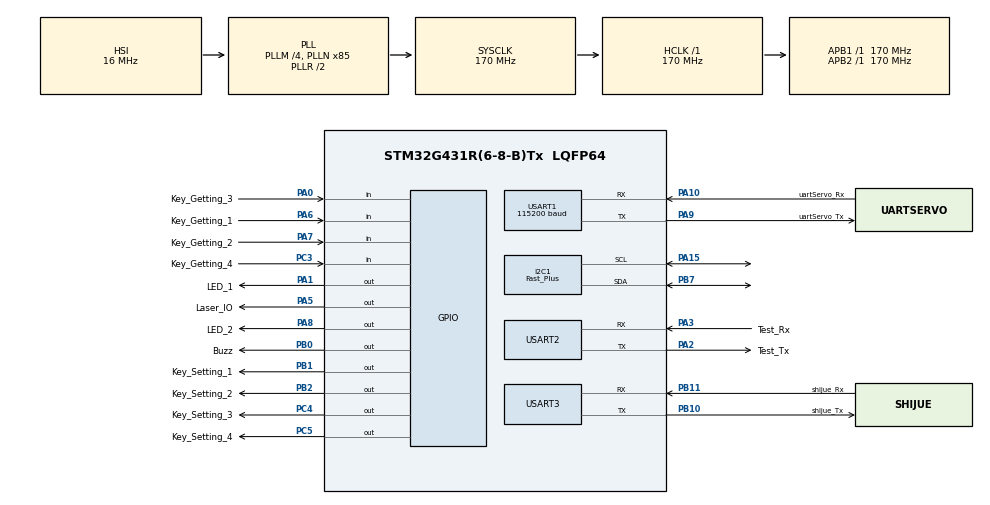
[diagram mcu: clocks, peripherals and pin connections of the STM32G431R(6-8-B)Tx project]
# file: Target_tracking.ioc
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Dma.Request0=USART3_RX
Dma.USART3_RX.0.Direction=DMA_PERIPH_TO_MEMORY
Dma.USART3_RX.0.EventEnable=DISABLE
Dma.USART3_RX.0.Instance=DMA1_Channel1
Dma.USART3_RX.0.MemDataAlignment=DMA_MDATAALIGN_BYTE
Dma.USART3_RX.0.MemInc=DMA_MINC_ENABLE
Dma.USART3_RX.0.Mode=DMA_NORMAL
Dma.USART3_RX.0.PeriphDataAlignment=DMA_PDATAALIGN_BYTE
Dma.USART3_RX.0.PeriphInc=DMA_PINC_DISABLE
Dma.USART3_RX.0.Polarity=HAL_DMAMUX_REQ_GEN_RISING
Dma.USART3_RX.0.Priority=DMA_PRIORITY_LOW
Dma.USART3_RX.0.RequestNumber=1
Dma.USART3_RX.0.SignalID=NONE
Dma.USART3_RX.0.SyncEnable=DISABLE
Dma.USART3_RX.0.SyncPolarity=HAL_DMAMUX_SYNC_NO_EVENT
Dma.USART3_RX.0.SyncRequestNumber=1
Dma.USART3_RX.0.SyncSignalID=NONE
I2C1.I2C_Speed_Mode=I2C_Fast_Plus
I2C1.Timing=0x4052060F
Mcu.Family=STM32G4
Mcu.Name=STM32G431R(6-8-B)Tx
Mcu.Package=LQFP64
NVIC.DMA1_Channel1_IRQn=true\:0\:0\:false\:false\:true\:false\:true\:true
NVIC.PriorityGroup=NVIC_PRIORITYGROUP_4
NVIC.TIM6_DAC_IRQn=true\:1\:0\:true\:false\:true\:true\:true\:true
NVIC.TIM7_IRQn=true\:1\:0\:true\:false\:true\:true\:true\:true
NVIC.USART1_IRQn=true\:1\:0\:true\:false\:true\:true\:true\:true
NVIC.USART2_IRQn=true\:1\:0\:true\:false\:true\:true\:true\:true
NVIC.USART3_IRQn=true\:0\:0\:false\:false\:true\:true\:true\:true
PA0.GPIO_Label=Key_Getting_3
PA0.GPIO_PuPd=GPIO_PULLUP
PA0.Signal=GPIO_Input
PA1.GPIO_Label=LED_1
PA1.Signal=GPIO_Output
PA10.GPIO_Label=uartServo_Rx
PA10.Mode=Asynchronous
PA10.Signal=USART1_RX
PA13.Mode=Serial_Wire
PA13.Signal=SYS_JTMS-SWDIO
PA14.Mode=Serial_Wire
PA14.Signal=SYS_JTCK-SWCLK
PA15.GPIO_Speed=GPIO_SPEED_FREQ_VERY_HIGH
PA15.Mode=I2C
PA15.Signal=I2C1_SCL
PA2.GPIO_Label=Test_Tx
PA2.Mode=Asynchronous
PA2.Signal=USART2_TX
PA3.GPIO_Label=Test_Rx
PA3.Mode=Asynchronous
PA3.Signal=USART2_RX
PA5.GPIO_Label=Laser_IO
PA5.Signal=GPIO_Output
PA6.GPIO_Label=Key_Getting_1
PA6.GPIO_PuPd=GPIO_PULLUP
PA6.Signal=GPIO_Input
PA7.GPIO_Label=Key_Getting_2
PA7.GPIO_PuPd=GPIO_PULLUP
PA7.Signal=GPIO_Input
PA8.GPIO_Label=LED_2
PA8.Signal=GPIO_Output
PA9.GPIO_Label=uartServo_Tx
PA9.Mode=Asynchronous
PA9.Signal=USART1_TX
PB0.GPIO_Label=Buzz
PB0.Signal=GPIO_Output
PB1.GPIO_Label=Key_Setting_1
PB1.Signal=GPIO_Output
PB10.GPIO_Label=shijue_Tx
PB10.Mode=Asynchronous
PB10.Signal=USART3_TX
PB11.GPIO_Label=shijue_Rx
PB11.Mode=Asynchronous
PB11.Signal=USART3_RX
PB2.GPIO_Label=Key_Setting_2
PB2.Signal=GPIO_Output
PB7.GPIO_Speed=GPIO_SPEED_FREQ_VERY_HIGH
PB7.Mode=I2C
PB7.Signal=I2C1_SDA
PC3.GPIO_Label=Key_Getting_4
PC3.GPIO_PuPd=GPIO_PULLUP
PC3.Signal=GPIO_Input
PC4.GPIO_Label=Key_Setting_3
PC4.Signal=GPIO_Output
PC5.GPIO_Label=Key_Setting_4
PC5.Signal=GPIO_Output
PF0-OSC_IN.Mode=HSE-External-Oscillator
PF0-OSC_IN.Signal=RCC_OSC_IN
PF1-OSC_OUT.Mode=HSE-External-Oscillator
PF1-OSC_OUT.Signal=RCC_OSC_OUT
ProjectManager.HeapSize=0x200
ProjectManager.StackSize=0x400
ProjectManager.TargetToolchain=Makefile
RCC.ADC12Freq_Value=170000000
RCC.AHBFreq_Value=170000000
RCC.APB1Freq_Value=170000000
RCC.APB1TimFreq_Value=170000000
RCC.APB2Freq_Value=170000000
RCC.APB2TimFreq_Value=170000000
RCC.CortexFreq_Value=170000000
RCC.EXTERNAL_CLOCK_VALUE=12288000
RCC.HCLKFreq_Value=170000000
RCC.HSE_VALUE=8000000
RCC.HSI48_VALUE=48000000
RCC.HSI_VALUE=16000000
RCC.LSE_VALUE=32768
RCC.PLLM=RCC_PLLM_DIV4
RCC.PLLN=85
RCC.SYSCLKFreq_VALUE=170000000
RCC.SYSCLKSource=RCC_SYSCLKSOURCE_PLLCLK
RCC.USBFreq_Value=170000000
RCC.VCOOutputFreq_Value=340000000
TIM6.PeriodNoDither=1000-1
TIM6.Prescaler=170-1
TIM7.PeriodNoDither=1000-1
TIM7.Prescaler=170-1
USART1.BaudRate=115200
USART1.VirtualMode-Asynchronous=VM_ASYNC
USART2.VirtualMode-Asynchronous=VM_ASYNC
USART3.VirtualMode-Asynchronous=VM_ASYNC
VP_SYS_VS_DBSignals.Mode=DisableDeadBatterySignals
VP_TIM6_VS_ClockSourceINT.Mode=Enable_Timer
VP_TIM7_VS_ClockSourceINT.Mode=Enable_Timer
board=custom

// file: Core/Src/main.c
/* USER CODE BEGIN Header */
/**
  ******************************************************************************
  * @file           : main.c
  * @brief          : Main program body
  ******************************************************************************
  * @attention
  *
  * Copyright (c) 2025 STMicroelectronics.
  * All rights reserved.
  *
  * This software is licensed under terms that can be found in the LICENSE file
  * in the root directory of this software component.
  * If no LICENSE file comes with this software, it is provided AS-IS.
  *
  ******************************************************************************
  */
/* USER CODE END Header */
#include "main.h"
#include "dma.h"
#include "i2c.h"
#include "tim.h"
#include "usart.h"
#include "gpio.h"

/* USER CODE BEGIN Includes */

#include "oled.h"

#include "My_KeyBoard.h"

#include "uart_servo_lite.h"
#include "Tick.h"

#include "Master_PC.h"
#include "Servo_Move.h"

/* 运动云台

			下舵机初始位置角度：2048  编号：1		(左+,右-)
			上舵机初始位置角度：2048  编号：2	  (上+,下-)

*/

/* USER CODE END Includes */

/* USER CODE BEGIN PTD */

uint8_t RxData=1,shijue_RxData;
uint8_t Key_GetCnt,Key_GetCntFlag,Key_Start;					/* 按键消抖时间计次  按键消抖计时标志位  按键启动位 */

uint8_t sid_1=1,sid_2=2;

uint8_t pRxPacket;			/* 摄像头数据接收缓冲数组 */

uint8_t KeyNum;

uint8_t Monitor_Flag,MovingReset_flag;				/* 在任意位置均可复位部分 */
uint16_t My_CoordinateData[10];						/* 传过来的计算坐标值 */
uint8_t ShijueRecv_Buffer[20];						/* 传过来的原始数据 */

uint8_t Rectangle_Send=0x66,FinishRectangle_Flag;
/* 接收到四点矩形框数据后向摄像头发送的数据  四点矩形框数据接收完成标志位*/

float My_Angle;
uint8_t Data_FinishGet,Data_StartGet=0;			/* 接收完成标志位  启动接收标志位 */

//状态码
JOHO_STATUS statusCode;

uint16_t Test;

/* USER CODE END PTD */

void SystemClock_Config(void);

int main(void)
{

  /* MCU Configuration--------------------------------------------------------*/

  /* Reset of all peripherals, Initializes the Flash interface and the Systick. */
  HAL_Init();

  /* Configure the system clock */
  SystemClock_Config();

  /* Initialize all configured peripherals */
  MX_GPIO_Init();
  MX_DMA_Init();
  MX_I2C1_Init();
  MX_USART1_UART_Init();
  MX_USART2_UART_Init();
  MX_USART3_UART_Init();
  MX_TIM6_Init();
  MX_TIM7_Init();
  /* USER CODE BEGIN 2 */

	OLED_Init();
	OLED_Clear();
	Key_Init();

	/* 串行舵机初始化部分 */
//	HAL_TIM_Base_Start_IT(&htim6);
  	HAL_UART_Receive_IT(&huart1,&RxData, sizeof(RxData));
	Tick_DelayMs(1000);

//	HAL_GPIO_WritePin(GPIOA,GPIO_PIN_8,GPIO_PIN_SET);			/* 点亮LED灯 */
//	HAL_GPIO_WritePin(GPIOB,GPIO_PIN_0,GPIO_PIN_RESET);		/* 蜂鸣器使能 */
	HAL_GPIO_WritePin(GPIOA,GPIO_PIN_5,GPIO_PIN_SET);		/* 激光使能 */

	HAL_UART_Receive_IT(&huart2,(uint8_t*)&Rx_Byte,sizeof(Rx_Byte));		/* 调试串口 */
	HAL_UART_Receive_DMA(&huart3,(uint8_t*)&shijue_RxData,1);

	// USL_SetServoAngle(servoUsart,sid_1,1848,0);
	// USL_SetServoAngle(servoUsart,sid_2,1848,0);

//	Test = USL_GETPositionVal(servoUsart,sid_1);
//	HAL_Delay(100);
//	USL_SetServoAngle(servoUsart,sid_1,2080,0);

  /* USER CODE END 2 */

  /* Infinite loop */
  /* USER CODE BEGIN WHILE */
  while (1)
  {
			menu2 = menu1();		/* 从一级菜单中获取 */
			if(menu2 == 1)
			{
					LOCATE_MODE_Menu();
			}
			else if(menu2 == 2)
			{
					LASER_RESET_Menu();
			}
			else if(menu2 == 3)
			{
					while(1)
					{
							menu3 = LASER_MOVE_Menu();
							if(MenuReturn_Flag)		/* 返回上一级菜单 */
							{
								MenuReturn_Flag=0;
								break;
							}

							if(menu3 == 1)		/* 铅笔框运动 */
							{
										Monitor_Flag=1;				/* 运动过程中复位功能使能 */

										Penstring_Moving_1();

										Monitor_Flag=0;				/* 运动过程中复位功能失能 */

							}
							else if(menu3 == 2)		/* 矩形框运动 */
							{
									menu4 = RECTANGLE_MOVE_Menu();

									if(menu4 == 1)		/* 校准模式 */
									{
											GET_RECTANGLE_menu();
									}
									else if(menu4 == 2)			/* 启动矩形框运动模式 */
									{
											Set_RectangleXY(rectangle_XY,Set_rectangle_XY);			/* 获取细分坐标 */
											Data_StartGet=1;		/* 实时接收激光坐标 */

//											HAL_TIM_Base_Start_IT(&htim7);
//											Tracking_Start_Flag=1;

//											for(uint8_t Rec_time=0;Rec_time<16;Rec_time++)
//											{
//													while(1)
//													{
////															Set_LaserTracking(Set_rectangle_XY[Rec_time*2],Set_rectangle_XY[Rec_time*2+1]);			/* 启动矩形框巡线 */
////
////															if( 	((Set_rectangle_XY[Rec_time*2]<Laser_XY[0]+1)&&(Set_rectangle_XY[Rec_time*2+1]<Laser_XY[1]+1))||
////																		((Set_rectangle_XY[Rec_time*2]+1>Laser_XY[0])&&(Set_rectangle_XY[Rec_time*2+1]+1>Laser_XY[1]))||
////																		((Set_rectangle_XY[Rec_time*2]<Laser_XY[0]+1)&&(Set_rectangle_XY[Rec_time*2+1]+1>Laser_XY[1]))||
////																		((Set_rectangle_XY[Rec_time*2]+1>Laser_XY[0])&&(Set_rectangle_XY[Rec_time*2+1]<Laser_XY[1]+1)) )
////															{
////																		break;
////															}
//
//																Set_LaserTracking(Set_rectangle_XY[Rec_time*2],Set_rectangle_XY[Rec_time*2+1]);
//																if(Tracking_Enable)
//																{
//																		Tracking_Enable=0;
//																		break;
//																}
//													}
//											}
//
//											HAL_TIM_Base_Stop_IT(&htim7);
//											Tracking_Start_Flag=0;
//											Tracking_CNT=0;

												while(1)
												{
												Set_LaserTracking(Set_rectangle_XY[0],Set_rectangle_XY[1]);
												}

									}

							}
							// else if(menu3 == 0)		/* 回到前级菜单 */
							// {
							// 		OLED_Clear();
							// 		break;
							// }
					}
			}

			/* 调参部分 */

			/****************************************************************************************/

				/* 调参数据接收部分 */
//				if(Get_vofa_PID_Rxflag()==1)		/* 判断接收是否成功 */
//				{
//						PID_index_1=Get_id_Flag_1();
//						PID_index_2=Get_id_Flag_2();
//
//						PID_Mode[PID_index_1-1].PID[PID_index_2]=RxPacket_Data_Handle(Get_Vofa_RxData);
//				}

				/* 启动停止位接收部分 */
//				if(Get_On_or_off_Rxflag()==1)			/* 判断接受是否成功 */
//				{
//						Car_on_off=Get_On_or_off[0];
//				}

			/****************************************************************************************/

    /* USER CODE END WHILE */

  }
}

void SystemClock_Config(void)
{
  RCC_OscInitTypeDef RCC_OscInitStruct = {0};
  RCC_ClkInitTypeDef RCC_ClkInitStruct = {0};

  /** Configure the main internal regulator output voltage
  */
  HAL_PWREx_ControlVoltageScaling(PWR_REGULATOR_VOLTAGE_SCALE1_BOOST);

  /** Initializes the RCC Oscillators according to the specified parameters
  * in the RCC_OscInitTypeDef structure.
  */
  RCC_OscInitStruct.OscillatorType = RCC_OSCILLATORTYPE_HSI;
  RCC_OscInitStruct.HSIState = RCC_HSI_ON;
  RCC_OscInitStruct.HSICalibrationValue = RCC_HSICALIBRATION_DEFAULT;
  RCC_OscInitStruct.PLL.PLLState = RCC_PLL_ON;
  RCC_OscInitStruct.PLL.PLLSource = RCC_PLLSOURCE_HSI;
  RCC_OscInitStruct.PLL.PLLM = RCC_PLLM_DIV4;
  RCC_OscInitStruct.PLL.PLLN = 85;
  RCC_OscInitStruct.PLL.PLLP = RCC_PLLP_DIV2;
  RCC_OscInitStruct.PLL.PLLQ = RCC_PLLQ_DIV2;
  RCC_OscInitStruct.PLL.PLLR = RCC_PLLR_DIV2;
  if (HAL_RCC_OscConfig(&RCC_OscInitStruct) != HAL_OK)
  {
    Error_Handler();
  }

  /** Initializes the CPU, AHB and APB buses clocks
  */
  RCC_ClkInitStruct.ClockType = RCC_CLOCKTYPE_HCLK|RCC_CLOCKTYPE_SYSCLK
                              |RCC_CLOCKTYPE_PCLK1|RCC_CLOCKTYPE_PCLK2;
  RCC_ClkInitStruct.SYSCLKSource = RCC_SYSCLKSOURCE_PLLCLK;
  RCC_ClkInitStruct.AHBCLKDivider = RCC_SYSCLK_DIV1;
  RCC_ClkInitStruct.APB1CLKDivider = RCC_HCLK_DIV1;
  RCC_ClkInitStruct.APB2CLKDivider = RCC_HCLK_DIV1;

  if (HAL_RCC_ClockConfig(&RCC_ClkInitStruct, FLASH_LATENCY_4) != HAL_OK)
  {
    Error_Handler();
  }
}

/* USER CODE BEGIN 4 */

void HAL_UART_RxCpltCallback(UART_HandleTypeDef *huart){

    if(huart->Instance == USART1){
        HAL_UART_Receive_IT(&huart1,&RxData, sizeof(RxData));
        RingBuffer_Push(usart1.recvBuf, RxData);
    }

		if(huart->Instance == USART2)		/* 调试用接收中断 */
    {
				static uint8_t PID_RxState=0;  		/* PID参数接收标志位 */
				static uint8_t PID_pRxPacket=0;			/* 接收数据位数(数组元素索引) */

				static uint8_t On_or_off_RxState=0;		/* 启动停止位接收标志位 */
				static uint8_t On_or_off_pRxPacket=0;			/* 接收数据位数(数组元素索引) */

//				static uint8_t FlashSave_RxState=0;

				HAL_UART_Receive_IT(&huart2,(uint8_t*)&Rx_Byte,sizeof(Rx_Byte));    /* 接受上位机传来的一个字节 */

				/* PID参数接收部分 */
				if(PID_RxState==0 && Rx_Byte==0x23)			/* 接收"#" */
				{
						PID_RxState=1;
				}
				else if(PID_RxState==1 && Rx_Byte==0x50)			/* 接收"P" */
				{
						PID_RxState=2;
				}
				else if(PID_RxState==2)		/* 接收标志1(_前边) */
				{
						id_Flag_1=Rx_Byte-48;
						PID_RxState=3;
				}
				else if(PID_RxState==3 && Rx_Byte==0x5F)			/* 接收"_" */
				{
						PID_RxState=4;
				}
				else if(PID_RxState==4)		/* 接收标志1(_后边) */
				{
						id_Flag_2=Rx_Byte-48;
						PID_RxState=5;
				}
				else if(PID_RxState==5 && Rx_Byte==0x3D)		/* 接收"=" */
				{
						PID_RxState=6;
				}
				else if(PID_RxState==6)			/* 此时开始接收参数数据 */
				{
						if(Rx_Byte==0x21)		/* 接收到"!"即帧尾-->作标志位清零处理 */
						{
								Data_BitNum=PID_pRxPacket;		/* 获取接收到的实际位数 */
								PID_pRxPacket=0;				/* 清除索引方便下次进行接收数据 */
								PID_RxState=0;						/* 标志位清零 */
								PID_RxFlag=1;		/* 获取标志位置1 */
						}
						else			/* 持续接收数据 */
						{
								Get_Vofa_RxData[PID_pRxPacket++]=Rx_Byte;
						}
				}

				/* 启动停止位接收部分 */
				if(On_or_off_RxState==0 && Rx_Byte==0x40)		/* 接收"@" */
				{
						On_or_off_RxState=1;
				}
				else if(On_or_off_RxState==1 && Rx_Byte==0x46)		/* 接收"F" */
				{
						On_or_off_RxState=2;
				}
				else if(On_or_off_RxState==2 && Rx_Byte==0x6C)			/* 接收"l" */
				{
						On_or_off_RxState=3;
				}
				else if(On_or_off_RxState==3 && Rx_Byte==0x61)					/* 接收"a" */
				{
						On_or_off_RxState=4;
				}
				else if(On_or_off_RxState==4 && Rx_Byte==0x67)					/* 接收"g" */
				{
						On_or_off_RxState=5;
				}
				else if(On_or_off_RxState==5 && Rx_Byte==0x3D)			/* 接收"=" */
				{
						On_or_off_RxState=6;
				}
				else if(On_or_off_RxState==6)			/* 开始接受标志位 */
				{
						if(Rx_Byte==0x21)			/* 判断接收到帧尾"!"后,结束本次启动停止位的获取 */
						{
								On_or_off_RxState=0;				/* 标志位清零 */
								On_or_off_RxFlag=1;				/* 获取标志位置1 */
								On_or_off_pRxPacket=0;
						}
						else
						{
								Get_On_or_off[On_or_off_pRxPacket++]=Rx_Byte-48;		/* 获取对应启动停止位(1/2) */
						}
				}

		}

		if(huart->Instance == USART3)				/* 摄像头串口接收部分 (16位数据接收)*/
		{
				static uint8_t HeadBagRecv_Flag,DataRecv_Flag,Recv_time;
				HAL_UART_Receive_DMA(&huart3,(uint8_t*)&shijue_RxData,1);

			if(Data_FinishGet==0 && Data_StartGet==1)
			{

				if(shijue_RxData == 0xAA)
				{
						HeadBagRecv_Flag=1;
				}
				else if(shijue_RxData == 0x55 && HeadBagRecv_Flag==1)
				{
						HeadBagRecv_Flag=0;		/* 包头接收完毕 */
						DataRecv_Flag=1;

				}

				if(DataRecv_Flag == 1 && FinishRectangle_Flag == 0)			/* 四点矩形框坐标接收 */
				{
						if(Recv_time++>=1)
						{
								ShijueRecv_Buffer[pRxPacket++] = shijue_RxData;

								if(pRxPacket>=20)		/* 判断数据接收完后 */
								{
										pRxPacket=0;			/* 清零 */
										DataRecv_Flag=0;
										Recv_time=0;

										Data_FinishGet=1;

										FinishRectangle_Flag=1;			/* 置开始接收激光坐标标志位 */
								}
						}

				}
				else if(DataRecv_Flag == 1 && FinishRectangle_Flag == 1)	/* 红色激光坐标接收 */
				{
						if(Recv_time++>=1)
						{
								ShijueRecv_Buffer[pRxPacket++] = shijue_RxData;

								if(pRxPacket>=4)		/* 判断数据接收完后 */
								{
										pRxPacket=0;			/* 清零 */
										DataRecv_Flag=0;
										Recv_time=0;

										Data_FinishGet=1;

								}
						}
				}
			}

    }

}

/* 1ms计时中断 */
void HAL_TIM_PeriodElapsedCallback(TIM_HandleTypeDef *htim){

    if(htim->Instance == TIM6){
         if(TickCnt > 0){
             TickCnt--;
         }
         else{
             TickCnt = 0;
         }

//				 if(MoveStart_Flag==1)
//				 {
//							Penstring_Moving();
//							MoveStart_Flag=0;
//				 }

    }

		if(htim->Instance == TIM7)
		{
				 if(Key_GetCntFlag)		/* 开始消抖计时 */
				 {
						Key_GetCnt++;
						if(Key_GetCnt >= 100)		/* 到100ms时 */
						{
								Key_GetCntFlag=0;			/* 清零 */
								Key_GetCnt=0;
								Key_Start=1;
						}
				 }

				 if(Tracking_Start_Flag)			/* 开始1ms计次 */
				 {
						Tracking_CNT++;
						if(Tracking_CNT>=6000)			/* 记到100ms时 */
						{
								Tracking_CNT=0;
								Tracking_Enable=1;
						}
				 }
		}

}

/* USER CODE END 4 */

void Error_Handler(void)
{
  __disable_irq();
  while (1)
  {
  }
}
